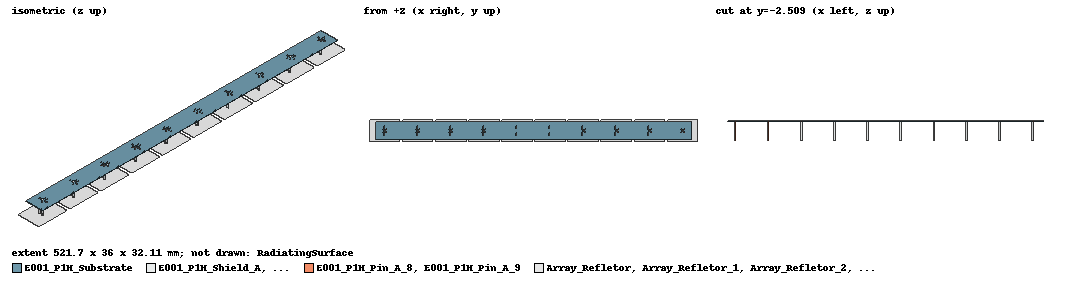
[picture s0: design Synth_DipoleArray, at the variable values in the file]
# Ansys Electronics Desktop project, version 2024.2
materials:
  vacuum: permittivity=1
  P1H_RO4350B_DesignDk: permittivity=3.66 permeability=1 dielectric_loss_tangent=0.0037
  copper: permeability=0.999991 conductivity=58000000
  aluminum: permeability=1.000021 conductivity=38000000

design Synth_DipoleArray (HFSS, HFSS Modal Network, model units mm)
options: open_region{BoundaryType=0 OpFreq=5.17GHz}
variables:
  array_reflector_z = 0mm
  array_reflector_width = 48.3125mm
  array_reflector_height = 36mm
  array_pcb_thickness = 0.76mm
  array_model_count = 1
  array_has_B1 = 0
  array_has_R1 = 0
  array_has_Y1 = 0
  array_has_P1 = 0
  array_has_P1H = 1
  array_P1H_reflector_spacing = 16.61mm
  array_P1H_element_z = array_P1H_reflector_spacing
  array_P1H_reference_frequency = 5170MHz
  array_P1H_band_start = 5090MHz
  array_P1H_band_stop = 5250MHz
  array_P1H_xy_scale = 0.755
  array_P1H_pcb_thickness = 0.76mm
  array_P1H_geometry_revision = 1
  array_P1H_ring_opening_scale = 1
  array_P1H_polarization_scale_A = 1.0124
  array_P1H_polarization_scale_B = 1.0007
  array_reflector_spacing = array_P1H_reflector_spacing
  array_element_plane_z = array_P1H_element_z
  E001_element_z = array_P1H_element_z
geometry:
  E001_P1H_Ring_Q1 = polyline(z=16.61mm, xy in mm: (0.264434975, 2.4067617) (0.264434975, 8.6519924) (4.8615779, 13.249135) (8.3875574, 13.249135) (13.249135, 8.3875574) (13.249135, 4.8615779) (8.6519924, 0.264434975) (2.4067617, 0.264434975) (0.264434975, 2.4067617), closed, covered)
  E001_P1H_Ring_Q1_opening = polyline(z=16.61mm, xy in mm: (2.4307889, 5.0485616) (5.0485616, 2.4307889) (9.1087805, 2.4307889) (11.966961, 5.2889693) (11.966961, 7.960166) (7.960166, 11.966961) (5.2889693, 11.966961) (2.4307889, 9.1087805) (2.4307889, 5.0485616), closed, covered)
  E001_P1H_Ring_Q1.subtract(E001_P1H_Ring_Q1_opening)
  E001_P1H_Ring_Q1_coax_B = circle(normal=Z, centre=(2.5091684mm, 2.5091684mm, 16.61mm), radius=1.2704335mm)
  E001_P1H_Ring_Q1.subtract(E001_P1H_Ring_Q1_coax_B)
  E001_P1H_Ring_Q2 = polyline(z=16.61mm, xy in mm: (-0.2675267, 2.4349011) (-0.2675267, 8.7531499) (-4.9184185, 13.404042) (-8.4856232, 13.404042) (-13.404042, 8.4856232) (-13.404042, 4.9184185) (-8.7531499, 0.2675267) (-2.4349011, 0.2675267) (-0.2675267, 2.4349011), closed, covered)
  E001_P1H_Ring_Q2_opening = polyline(z=16.61mm, xy in mm: (-2.4592093, 5.1075885) (-5.1075885, 2.4592093) (-9.2152787, 2.4592093) (-12.106876, 5.350807) (-12.106876, 8.0532347) (-8.0532347, 12.106876) (-5.350807, 12.106876) (-2.4592093, 9.2152787) (-2.4592093, 5.1075885), closed, covered)
  E001_P1H_Ring_Q2.subtract(E001_P1H_Ring_Q2_opening)
  E001_P1H_Ring_Q3 = polyline(z=16.61mm, xy in mm: (-0.264434975, -2.4067617) (-0.264434975, -8.6519924) (-4.8615779, -13.249135) (-8.3875574, -13.249135) (-13.249135, -8.3875574) (-13.249135, -4.8615779) (-8.6519924, -0.264434975) (-2.4067617, -0.264434975) (-0.264434975, -2.4067617), closed, covered)
  E001_P1H_Ring_Q3_opening = polyline(z=16.61mm, xy in mm: (-2.4307889, -5.0485616) (-5.0485616, -2.4307889) (-9.1087805, -2.4307889) (-11.966961, -5.2889693) (-11.966961, -7.960166) (-7.960166, -11.966961) (-5.2889693, -11.966961) (-2.4307889, -9.1087805) (-2.4307889, -5.0485616), closed, covered)
  E001_P1H_Ring_Q3.subtract(E001_P1H_Ring_Q3_opening)
  E001_P1H_Ring_Q4 = polyline(z=16.61mm, xy in mm: (0.2675267, -2.4349011) (0.2675267, -8.7531499) (4.9184185, -13.404042) (8.4856232, -13.404042) (13.404042, -8.4856232) (13.404042, -4.9184185) (8.7531499, -0.2675267) (2.4349011, -0.2675267) (0.2675267, -2.4349011), closed, covered)
  E001_P1H_Ring_Q4_opening = polyline(z=16.61mm, xy in mm: (2.4592093, -5.1075885) (5.1075885, -2.4592093) (9.2152787, -2.4592093) (12.106876, -5.350807) (12.106876, -8.0532347) (8.0532347, -12.106876) (5.350807, -12.106876) (2.4592093, -9.2152787) (2.4592093, -5.1075885), closed, covered)
  E001_P1H_Ring_Q4.subtract(E001_P1H_Ring_Q4_opening)
  E001_P1H_Ring_Q4_coax_A = circle(normal=Z, centre=(2.5091684mm, -2.5091684mm, 16.61mm), radius=1.2704335mm)
  E001_P1H_Ring_Q4.subtract(E001_P1H_Ring_Q4_coax_A)
  E001_P1H_Feed_A = polyline(z=17.37mm, xy in mm: (-7.1688408, 1.041038) (-3.0163408, 1.041038) (-2.375702, 1.6816767) (2.6960214, -3.3900467) (3.3900467, -2.6960214) (-1.6816767, 2.375702) (-1.041038, 3.0163408) (-1.041038, 7.1688408) (-2.022538, 7.1688408) (-2.022538, 3.4228914) (-3.4228914, 2.022538) (-7.1688408, 2.022538) (-7.1688408, 1.041038), closed, covered)
  E001_P1H_Feed_B_Outer = polyline(z=17.37mm, xy in mm: (-7.1688408, -2.022538) (-7.1688408, -1.041038) (-3.0163408, -1.041038) (-2.375702, -1.6816767) (-0.82749171, -0.1334664) (-0.1334664, -0.82749171) (-1.6816767, -2.375702) (-1.041038, -3.0163408) (-1.041038, -7.1688408) (-2.022538, -7.1688408) (-2.022538, -3.4228914) (-3.4228914, -2.022538) (-7.1688408, -2.022538), closed, covered)
  E001_P1H_Feed_B_Inner = polyline(z=17.37mm, xy in mm: (0.1334664, 0.82749171) (0.82749171, 0.1334664) (3.3900467, 2.6960214) (2.6960214, 3.3900467) (0.1334664, 0.82749171), closed, covered)
  E001_P1H_Feed_A_pin_hole = circle(normal=Z, centre=(2.5091684mm, -2.5091684mm, 17.37mm), radius=0.362981mm)
  E001_P1H_Feed_A.subtract(E001_P1H_Feed_A_pin_hole)
  E001_P1H_Feed_B_pin_hole = circle(normal=Z, centre=(2.5091684mm, 2.5091684mm, 17.37mm), radius=0.362981mm)
  E001_P1H_Feed_B_Inner.subtract(E001_P1H_Feed_B_pin_hole)
  E001_P1H_Crossover_Bridge = polyline(z=16.61mm, xy in mm: (-1.3613573, -0.66733202) (0.66733202, 1.3613573) (1.3613573, 0.66733202) (-0.66733202, -1.3613573) (-1.3613573, -0.66733202), closed, covered)
  E001_P1H_Pin_A [copper] = cylinder(axis=Z, base_centre=(2.5091684mm, -2.5091684mm, -14.51924mm), radius=0.362981mm, height=32.1070286mm)
  E001_P1H_Shield_A [aluminum] = cylinder(axis=Z, base_centre=(2.5091684mm, -2.5091684mm, -14.51924mm), radius=1.2704335mm, height=31.12924mm)
  E001_P1H_Shield_A_Inner = cylinder(axis=Z, base_centre=(2.5091684mm, -2.5091684mm, -14.5555381mm), radius=0.8348563mm, height=31.2018362mm)
  E001_P1H_Shield_A.subtract(E001_P1H_Shield_A_Inner)
  E001_P1H_Port_A_Face = circle(normal=Z, centre=(2.5091684mm, -2.5091684mm, -14.51924mm), radius=0.8348563mm)
  E001_P1H_Pin_B [copper] = cylinder(axis=Z, base_centre=(2.5091684mm, 2.5091684mm, -14.51924mm), radius=0.362981mm, height=32.1070286mm)
  E001_P1H_Shield_B [aluminum] = cylinder(axis=Z, base_centre=(2.5091684mm, 2.5091684mm, -14.51924mm), radius=1.2704335mm, height=31.12924mm)
  E001_P1H_Shield_B_Inner = cylinder(axis=Z, base_centre=(2.5091684mm, 2.5091684mm, -14.5555381mm), radius=0.8348563mm, height=31.2018362mm)
  E001_P1H_Shield_B.subtract(E001_P1H_Shield_B_Inner)
  E001_P1H_Port_B_Face = circle(normal=Z, centre=(2.5091684mm, 2.5091684mm, -14.51924mm), radius=0.8348563mm)
  Array_Refletor = rectangle(corner=(-array_reflector_width/2, -array_reflector_height/2, array_reflector_z), x_size=array_reflector_width, y_size=array_reflector_height)
  Reflector_Hole_E001_P1H_A = circle(normal=Z, centre=(2.5091684mm, -2.5091684mm, 0mm), radius=1.3067316mm)
  Reflector_Hole_E001_P1H_B = circle(normal=Z, centre=(2.5091684mm, 2.5091684mm, 0mm), radius=1.3067316mm)
  Array_Refletor.subtract(Reflector_Hole_E001_P1H_A, Reflector_Hole_E001_P1H_B)
  RadiatingSurface [vacuum] = region(absolute_offset=19.34236mm on all sides)
  E001_P1H_Substrate [P1H_RO4350B_DesignDk] = box(corner=(-14.15625mm, -14.15625mm, 16.61mm), size=(28.3125mm, 28.3125mm, 0.76mm))
  FuroCore_A = cylinder(axis=Z, base_centre=(2.5091684mm, -2.5091684mm, 16.56mm), radius=0.45mm, height=0.86mm)
  E001_P1H_Metal_A = cylinder(axis=Z, base_centre=(2.5091684mm, -2.5091684mm, 16.61mm), radius=0.45mm, height=0.76mm)
  FuroMetal_A = cylinder(axis=Z, base_centre=(2.5091684mm, -2.5091684mm, 16.56mm), radius=0.362981mm, height=0.86mm)
  E001_P1H_Metal_A.subtract(FuroMetal_A)
  E001_P1H_Pin_A.unite(E001_P1H_Metal_A)
  E001_P1H_Pad_A_B = circle(normal=Z, centre=(2.5091684mm, -2.5091684mm, 16.61mm), radius=0.6mm)
  FuroPad_A_B = circle(normal=Z, centre=(2.5091684mm, -2.5091684mm, 16.61mm), radius=0.45mm)
  E001_P1H_Pad_A_B.subtract(FuroPad_A_B)
  E001_P1H_Pad_A_F = circle(normal=Z, centre=(2.5091684mm, -2.5091684mm, 17.37mm), radius=0.6mm)
  E001_P1H_Feed_A.unite(E001_P1H_Pad_A_F)
  FuroPad_A_F = circle(normal=Z, centre=(2.5091684mm, -2.5091684mm, 17.37mm), radius=0.45mm)
  E001_P1H_Feed_A.subtract(FuroPad_A_F)
  FuroCore_B = cylinder(axis=Z, base_centre=(2.5091684mm, 2.5091684mm, 16.56mm), radius=0.45mm, height=0.86mm)
  E001_P1H_Metal_B = cylinder(axis=Z, base_centre=(2.5091684mm, 2.5091684mm, 16.61mm), radius=0.45mm, height=0.76mm)
  FuroMetal_B = cylinder(axis=Z, base_centre=(2.5091684mm, 2.5091684mm, 16.56mm), radius=0.362981mm, height=0.86mm)
  E001_P1H_Metal_B.subtract(FuroMetal_B)
  E001_P1H_Pin_B.unite(E001_P1H_Metal_B)
  E001_P1H_Pad_B_B = circle(normal=Z, centre=(2.5091684mm, 2.5091684mm, 16.61mm), radius=0.6mm)
  FuroPad_B_B = circle(normal=Z, centre=(2.5091684mm, 2.5091684mm, 16.61mm), radius=0.45mm)
  E001_P1H_Pad_B_B.subtract(FuroPad_B_B)
  E001_P1H_Pad_B_F = circle(normal=Z, centre=(2.5091684mm, 2.5091684mm, 17.37mm), radius=0.6mm)
  E001_P1H_Feed_B_Inner.unite(E001_P1H_Pad_B_F)
  FuroPad_B_F = circle(normal=Z, centre=(2.5091684mm, 2.5091684mm, 17.37mm), radius=0.45mm)
  E001_P1H_Feed_B_Inner.subtract(FuroPad_B_F)
  FuroCore_V1 = cylinder(axis=Z, base_centre=(-0.74741187mm, -0.74741187mm, 16.56mm), radius=0.225mm, height=0.86mm)
  E001_P1H_Metal_V1 [copper] = cylinder(axis=Z, base_centre=(-0.74741187mm, -0.74741187mm, 16.61mm), radius=0.225mm, height=0.76mm)
  FuroMetal_V1 = cylinder(axis=Z, base_centre=(-0.74741187mm, -0.74741187mm, 16.56mm), radius=0.2mm, height=0.86mm)
  E001_P1H_Metal_V1.subtract(FuroMetal_V1)
  E001_P1H_Pad_V1_B = circle(normal=Z, centre=(-0.74741187mm, -0.74741187mm, 16.61mm), radius=0.363mm)
  E001_P1H_Crossover_Bridge.unite(E001_P1H_Pad_V1_B)
  FuroPad_V1_B = circle(normal=Z, centre=(-0.74741187mm, -0.74741187mm, 16.61mm), radius=0.225mm)
  E001_P1H_Crossover_Bridge.subtract(FuroPad_V1_B)
  E001_P1H_Pad_V1_F = circle(normal=Z, centre=(-0.74741187mm, -0.74741187mm, 17.37mm), radius=0.363mm)
  E001_P1H_Feed_B_Outer.unite(E001_P1H_Pad_V1_F)
  FuroPad_V1_F = circle(normal=Z, centre=(-0.74741187mm, -0.74741187mm, 17.37mm), radius=0.225mm)
  E001_P1H_Feed_B_Outer.subtract(FuroPad_V1_F)
  FuroCore_V2 = cylinder(axis=Z, base_centre=(0.74741187mm, 0.74741187mm, 16.56mm), radius=0.225mm, height=0.86mm)
  E001_P1H_Metal_V2 [copper] = cylinder(axis=Z, base_centre=(0.74741187mm, 0.74741187mm, 16.61mm), radius=0.225mm, height=0.76mm)
  FuroMetal_V2 = cylinder(axis=Z, base_centre=(0.74741187mm, 0.74741187mm, 16.56mm), radius=0.2mm, height=0.86mm)
  E001_P1H_Metal_V2.subtract(FuroMetal_V2)
  E001_P1H_Pad_V2_B = circle(normal=Z, centre=(0.74741187mm, 0.74741187mm, 16.61mm), radius=0.363mm)
  E001_P1H_Crossover_Bridge.unite(E001_P1H_Pad_V2_B)
  FuroPad_V2_B = circle(normal=Z, centre=(0.74741187mm, 0.74741187mm, 16.61mm), radius=0.225mm)
  E001_P1H_Crossover_Bridge.subtract(FuroPad_V2_B)
  E001_P1H_Pad_V2_F = circle(normal=Z, centre=(0.74741187mm, 0.74741187mm, 17.37mm), radius=0.363mm)
  E001_P1H_Feed_B_Inner.unite(E001_P1H_Pad_V2_F)
  FuroPad_V2_F = circle(normal=Z, centre=(0.74741187mm, 0.74741187mm, 17.37mm), radius=0.225mm)
  E001_P1H_Feed_B_Inner.subtract(FuroPad_V2_F)
  E001_P1H_Substrate.subtract(FuroCore_A, FuroCore_B, FuroCore_V1, FuroCore_V2)
  [E001_P1H_Pin_A, E001_P1H_Shield_A, E001_P1H_Pin_B, E001_P1H_Shield_B, E001_P1H_Substrate, E001_P1H_Metal_V1, E001_P1H_Metal_V2, E001_P1H_Ring_Q1..E001_P1H_Ring_Q4, E001_P1H_Feed_A, E001_P1H_Feed_B_Outer, E001_P1H_Feed_B_Inner, E001_P1H_Crossover_Bridge, E001_P1H_Port_A_Face, E001_P1H_Port_B_Face, Array_Refletor, E001_P1H_Pad_A_B, E001_P1H_Pad_B_B].move(-236.7mm, 0mm, 0mm)
  E001_P1H_Pin_A_1..E001_P1H_Pin_A_9 [copper] = E001_P1H_Pin_A.duplicate_along_line(step=(52.6mm, 0mm, 0mm), total=10)
  E001_P1H_Shield_A_1..E001_P1H_Shield_A_9 [aluminum] = E001_P1H_Shield_A.duplicate_along_line(step=(52.6mm, 0mm, 0mm), total=10)
  E001_P1H_Pin_B_1..E001_P1H_Pin_B_9 [copper] = E001_P1H_Pin_B.duplicate_along_line(step=(52.6mm, 0mm, 0mm), total=10)
  E001_P1H_Shield_B_1..E001_P1H_Shield_B_9 [aluminum] = E001_P1H_Shield_B.duplicate_along_line(step=(52.6mm, 0mm, 0mm), total=10)
  E001_P1H_Substrate_1..E001_P1H_Substrate_9 = E001_P1H_Substrate.duplicate_along_line(step=(52.6mm, 0mm, 0mm), total=10)
  E001_P1H_Metal_V1_1..E001_P1H_Metal_V1_9 [copper] = E001_P1H_Metal_V1.duplicate_along_line(step=(52.6mm, 0mm, 0mm), total=10)
  E001_P1H_Metal_V2_1..E001_P1H_Metal_V2_9 [copper] = E001_P1H_Metal_V2.duplicate_along_line(step=(52.6mm, 0mm, 0mm), total=10)
  E001_P1H_Ring_Q1_1..E001_P1H_Ring_Q1_9 = E001_P1H_Ring_Q1.duplicate_along_line(step=(52.6mm, 0mm, 0mm), total=10)
  E001_P1H_Ring_Q2_1..E001_P1H_Ring_Q2_9 = E001_P1H_Ring_Q2.duplicate_along_line(step=(52.6mm, 0mm, 0mm), total=10)
  E001_P1H_Ring_Q3_1..E001_P1H_Ring_Q3_9 = E001_P1H_Ring_Q3.duplicate_along_line(step=(52.6mm, 0mm, 0mm), total=10)
  E001_P1H_Ring_Q4_1..E001_P1H_Ring_Q4_9 = E001_P1H_Ring_Q4.duplicate_along_line(step=(52.6mm, 0mm, 0mm), total=10)
  E001_P1H_Feed_A_1..E001_P1H_Feed_A_9 = E001_P1H_Feed_A.duplicate_along_line(step=(52.6mm, 0mm, 0mm), total=10)
  E001_P1H_Feed_B_Outer_1..E001_P1H_Feed_B_Outer_9 = E001_P1H_Feed_B_Outer.duplicate_along_line(step=(52.6mm, 0mm, 0mm), total=10)
  E001_P1H_Feed_B_Inner_1..E001_P1H_Feed_B_Inner_9 = E001_P1H_Feed_B_Inner.duplicate_along_line(step=(52.6mm, 0mm, 0mm), total=10)
  E001_P1H_Crossover_Bridge_1..E001_P1H_Crossover_Bridge_9 = E001_P1H_Crossover_Bridge.duplicate_along_line(step=(52.6mm, 0mm, 0mm), total=10)
  E001_P1H_Port_A_Face_1..E001_P1H_Port_A_Face_9 = E001_P1H_Port_A_Face.duplicate_along_line(step=(52.6mm, 0mm, 0mm), total=10)
  E001_P1H_Port_B_Face_1..E001_P1H_Port_B_Face_9 = E001_P1H_Port_B_Face.duplicate_along_line(step=(52.6mm, 0mm, 0mm), total=10)
  Array_Refletor_1..Array_Refletor_9 = Array_Refletor.duplicate_along_line(step=(52.6mm, 0mm, 0mm), total=10)
  E001_P1H_Pad_A_B_1..E001_P1H_Pad_A_B_9 = E001_P1H_Pad_A_B.duplicate_along_line(step=(52.6mm, 0mm, 0mm), total=10)
  E001_P1H_Pad_B_B_1..E001_P1H_Pad_B_B_9 = E001_P1H_Pad_B_B.duplicate_along_line(step=(52.6mm, 0mm, 0mm), total=10)
  Laminado_entre_00 = box(corner=(-222.54375mm, -14.15625mm, 16.61mm), size=(24.2875mm, 28.3125mm, 0.76mm))
  Laminado_entre_01 = box(corner=(-169.94375mm, -14.15625mm, 16.61mm), size=(24.2875mm, 28.3125mm, 0.76mm))
  Laminado_entre_02 = box(corner=(-117.34375mm, -14.15625mm, 16.61mm), size=(24.2875mm, 28.3125mm, 0.76mm))
  Laminado_entre_03 = box(corner=(-64.74375mm, -14.15625mm, 16.61mm), size=(24.2875mm, 28.3125mm, 0.76mm))
  Laminado_entre_04 = box(corner=(-12.14375mm, -14.15625mm, 16.61mm), size=(24.2875mm, 28.3125mm, 0.76mm))
  Laminado_entre_05 = box(corner=(40.45625mm, -14.15625mm, 16.61mm), size=(24.2875mm, 28.3125mm, 0.76mm))
  Laminado_entre_06 = box(corner=(93.05625mm, -14.15625mm, 16.61mm), size=(24.2875mm, 28.3125mm, 0.76mm))
  Laminado_entre_07 = box(corner=(145.65625mm, -14.15625mm, 16.61mm), size=(24.2875mm, 28.3125mm, 0.76mm))
  Laminado_entre_08 = box(corner=(198.25625mm, -14.15625mm, 16.61mm), size=(24.2875mm, 28.3125mm, 0.76mm))
  E001_P1H_Substrate.unite(E001_P1H_Substrate_1..E001_P1H_Substrate_9, Laminado_entre_00, Laminado_entre_01, Laminado_entre_02, Laminado_entre_03, Laminado_entre_04, Laminado_entre_05, Laminado_entre_06, Laminado_entre_07, Laminado_entre_08)
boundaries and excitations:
  PerfectE_Array_Refletor: Perfect E Objects=Array_Refletor
  AutoOpen1: Radiation Objects=RadiatingSurface
  Cobre_PCB_35um: Finite Conductivity Objects=[E001_P1H_Ring_Q1..E001_P1H_Ring_Q4, E001_P1H_Feed_A, E001_P1H_Feed_B_Inner, E001_P1H_Feed_B_Outer, E001_P1H_Crossover_Bridge, E001_P1H_Pad_A_B, E001_P1H_Pad_B_B] UseMaterial Material=copper Thickness=0.035mm IsInternal
  PerfectE_Array_Refletor1: Perfect E Objects=Array_Refletor_1
  Cobre_PCB_35um1: Finite Conductivity Objects=[E001_P1H_Ring_Q1_1, E001_P1H_Ring_Q2_1, E001_P1H_Ring_Q3_1, E001_P1H_Ring_Q4_1, E001_P1H_Feed_A_1, E001_P1H_Feed_B_Inner_1, E001_P1H_Feed_B_Outer_1, E001_P1H_Crossover_Bridge_1, E001_P1H_Pad_A_B_1, E001_P1H_Pad_B_B_1] UseMaterial Material=copper Thickness=0.035mm IsInternal
  PerfectE_Array_Refletor2: Perfect E Objects=Array_Refletor_2
  Cobre_PCB_35um2: Finite Conductivity Objects=[E001_P1H_Ring_Q1_2, E001_P1H_Ring_Q2_2, E001_P1H_Ring_Q3_2, E001_P1H_Ring_Q4_2, E001_P1H_Feed_A_2, E001_P1H_Feed_B_Inner_2, E001_P1H_Feed_B_Outer_2, E001_P1H_Crossover_Bridge_2, E001_P1H_Pad_A_B_2, E001_P1H_Pad_B_B_2] UseMaterial Material=copper Thickness=0.035mm IsInternal
  PerfectE_Array_Refletor3: Perfect E Objects=Array_Refletor_3
  Cobre_PCB_35um3: Finite Conductivity Objects=[E001_P1H_Ring_Q1_3, E001_P1H_Ring_Q2_3, E001_P1H_Ring_Q3_3, E001_P1H_Ring_Q4_3, E001_P1H_Feed_A_3, E001_P1H_Feed_B_Inner_3, E001_P1H_Feed_B_Outer_3, E001_P1H_Crossover_Bridge_3, E001_P1H_Pad_A_B_3, E001_P1H_Pad_B_B_3] UseMaterial Material=copper Thickness=0.035mm IsInternal
  PerfectE_Array_Refletor4: Perfect E Objects=Array_Refletor_4
  Cobre_PCB_35um4: Finite Conductivity Objects=[E001_P1H_Ring_Q1_4, E001_P1H_Ring_Q2_4, E001_P1H_Ring_Q3_4, E001_P1H_Ring_Q4_4, E001_P1H_Feed_A_4, E001_P1H_Feed_B_Inner_4, E001_P1H_Feed_B_Outer_4, E001_P1H_Crossover_Bridge_4, E001_P1H_Pad_A_B_4, E001_P1H_Pad_B_B_4] UseMaterial Material=copper Thickness=0.035mm IsInternal
  PerfectE_Array_Refletor5: Perfect E Objects=Array_Refletor_5
  Cobre_PCB_35um5: Finite Conductivity Objects=[E001_P1H_Ring_Q1_5, E001_P1H_Ring_Q2_5, E001_P1H_Ring_Q3_5, E001_P1H_Ring_Q4_5, E001_P1H_Feed_A_5, E001_P1H_Feed_B_Inner_5, E001_P1H_Feed_B_Outer_5, E001_P1H_Crossover_Bridge_5, E001_P1H_Pad_A_B_5, E001_P1H_Pad_B_B_5] UseMaterial Material=copper Thickness=0.035mm IsInternal
  PerfectE_Array_Refletor6: Perfect E Objects=Array_Refletor_6
  Cobre_PCB_35um6: Finite Conductivity Objects=[E001_P1H_Ring_Q1_6, E001_P1H_Ring_Q2_6, E001_P1H_Ring_Q3_6, E001_P1H_Ring_Q4_6, E001_P1H_Feed_A_6, E001_P1H_Feed_B_Inner_6, E001_P1H_Feed_B_Outer_6, E001_P1H_Crossover_Bridge_6, E001_P1H_Pad_A_B_6, E001_P1H_Pad_B_B_6] UseMaterial Material=copper Thickness=0.035mm IsInternal
  PerfectE_Array_Refletor7: Perfect E Objects=Array_Refletor_7
  Cobre_PCB_35um7: Finite Conductivity Objects=[E001_P1H_Ring_Q1_7, E001_P1H_Ring_Q2_7, E001_P1H_Ring_Q3_7, E001_P1H_Ring_Q4_7, E001_P1H_Feed_A_7, E001_P1H_Feed_B_Inner_7, E001_P1H_Feed_B_Outer_7, E001_P1H_Crossover_Bridge_7, E001_P1H_Pad_A_B_7, E001_P1H_Pad_B_B_7] UseMaterial Material=copper Thickness=0.035mm IsInternal
  PerfectE_Array_Refletor8: Perfect E Objects=Array_Refletor_8
  Cobre_PCB_35um8: Finite Conductivity Objects=[E001_P1H_Ring_Q1_8, E001_P1H_Ring_Q2_8, E001_P1H_Ring_Q3_8, E001_P1H_Ring_Q4_8, E001_P1H_Feed_A_8, E001_P1H_Feed_B_Inner_8, E001_P1H_Feed_B_Outer_8, E001_P1H_Crossover_Bridge_8, E001_P1H_Pad_A_B_8, E001_P1H_Pad_B_B_8] UseMaterial Material=copper Thickness=0.035mm IsInternal
  PerfectE_Array_Refletor9: Perfect E Objects=Array_Refletor_9
  Cobre_PCB_35um9: Finite Conductivity Objects=[E001_P1H_Ring_Q1_9, E001_P1H_Ring_Q2_9, E001_P1H_Ring_Q3_9, E001_P1H_Ring_Q4_9, E001_P1H_Feed_A_9, E001_P1H_Feed_B_Inner_9, E001_P1H_Feed_B_Outer_9, E001_P1H_Crossover_Bridge_9, E001_P1H_Pad_A_B_9, E001_P1H_Pad_B_B_9] UseMaterial Material=copper Thickness=0.035mm IsInternal
  E016_PA: Lumped Port Objects=E001_P1H_Port_A_Face LumpedPortType=Modal Modes{Mode1{IntLine{(-233.82785, -2.5091684, -14.51924) -> (-233.35598, -2.5091684, -14.51924)} CharImp=Zpi RenormImp=50ohm}} Impedance=50ohm
  E016_PB: Lumped Port Objects=E001_P1H_Port_B_Face LumpedPortType=Modal Modes{Mode1{IntLine{(-233.82785, 2.5091684, -14.51924) -> (-233.35598, 2.5091684, -14.51924)} CharImp=Zpi RenormImp=50ohm}} Impedance=50ohm
  E016_PA1: Lumped Port Objects=E001_P1H_Port_A_Face_1 LumpedPortType=Modal Modes{Mode1{IntLine{(-181.22785, -2.5091684, -14.51924) -> (-180.75598, -2.5091684, -14.51924)} CharImp=Zpi RenormImp=50ohm}} Impedance=50ohm
  E016_PB1: Lumped Port Objects=E001_P1H_Port_B_Face_1 LumpedPortType=Modal Modes{Mode1{IntLine{(-181.22785, 2.5091684, -14.51924) -> (-180.75598, 2.5091684, -14.51924)} CharImp=Zpi RenormImp=50ohm}} Impedance=50ohm
  E016_PA2: Lumped Port Objects=E001_P1H_Port_A_Face_2 LumpedPortType=Modal Modes{Mode1{IntLine{(-128.62785, -2.5091684, -14.51924) -> (-128.15598, -2.5091684, -14.51924)} CharImp=Zpi RenormImp=50ohm}} Impedance=50ohm
  E016_PB2: Lumped Port Objects=E001_P1H_Port_B_Face_2 LumpedPortType=Modal Modes{Mode1{IntLine{(-128.62785, 2.5091684, -14.51924) -> (-128.15598, 2.5091684, -14.51924)} CharImp=Zpi RenormImp=50ohm}} Impedance=50ohm
  E016_PA3: Lumped Port Objects=E001_P1H_Port_A_Face_3 LumpedPortType=Modal Modes{Mode1{IntLine{(-76.027851, -2.5091684, -14.51924) -> (-75.555975, -2.5091684, -14.51924)} CharImp=Zpi RenormImp=50ohm}} Impedance=50ohm
  E016_PB3: Lumped Port Objects=E001_P1H_Port_B_Face_3 LumpedPortType=Modal Modes{Mode1{IntLine{(-76.027851, 2.5091684, -14.51924) -> (-75.555975, 2.5091684, -14.51924)} CharImp=Zpi RenormImp=50ohm}} Impedance=50ohm
  E016_PA4: Lumped Port Objects=E001_P1H_Port_A_Face_4 LumpedPortType=Modal Modes{Mode1{IntLine{(-23.427851, -2.5091684, -14.51924) -> (-22.955975, -2.5091684, -14.51924)} CharImp=Zpi RenormImp=50ohm}} Impedance=50ohm
  E016_PB4: Lumped Port Objects=E001_P1H_Port_B_Face_4 LumpedPortType=Modal Modes{Mode1{IntLine{(-23.427851, 2.5091684, -14.51924) -> (-22.955975, 2.5091684, -14.51924)} CharImp=Zpi RenormImp=50ohm}} Impedance=50ohm
  E016_PA5: Lumped Port Objects=E001_P1H_Port_A_Face_5 LumpedPortType=Modal Modes{Mode1{IntLine{(29.172149, -2.5091684, -14.51924) -> (29.644025, -2.5091684, -14.51924)} CharImp=Zpi RenormImp=50ohm}} Impedance=50ohm
  E016_PB5: Lumped Port Objects=E001_P1H_Port_B_Face_5 LumpedPortType=Modal Modes{Mode1{IntLine{(29.172149, 2.5091684, -14.51924) -> (29.644025, 2.5091684, -14.51924)} CharImp=Zpi RenormImp=50ohm}} Impedance=50ohm
  E016_PA6: Lumped Port Objects=E001_P1H_Port_A_Face_6 LumpedPortType=Modal Modes{Mode1{IntLine{(81.772149, -2.5091684, -14.51924) -> (82.244025, -2.5091684, -14.51924)} CharImp=Zpi RenormImp=50ohm}} Impedance=50ohm
  E016_PB6: Lumped Port Objects=E001_P1H_Port_B_Face_6 LumpedPortType=Modal Modes{Mode1{IntLine{(81.772149, 2.5091684, -14.51924) -> (82.244025, 2.5091684, -14.51924)} CharImp=Zpi RenormImp=50ohm}} Impedance=50ohm
  E016_PA7: Lumped Port Objects=E001_P1H_Port_A_Face_7 LumpedPortType=Modal Modes{Mode1{IntLine{(134.37215, -2.5091684, -14.51924) -> (134.84402, -2.5091684, -14.51924)} CharImp=Zpi RenormImp=50ohm}} Impedance=50ohm
  E016_PB7: Lumped Port Objects=E001_P1H_Port_B_Face_7 LumpedPortType=Modal Modes{Mode1{IntLine{(134.37215, 2.5091684, -14.51924) -> (134.84402, 2.5091684, -14.51924)} CharImp=Zpi RenormImp=50ohm}} Impedance=50ohm
  E016_PA8: Lumped Port Objects=E001_P1H_Port_A_Face_8 LumpedPortType=Modal Modes{Mode1{IntLine{(186.97215, -2.5091684, -14.51924) -> (187.44402, -2.5091684, -14.51924)} CharImp=Zpi RenormImp=50ohm}} Impedance=50ohm
  E016_PB8: Lumped Port Objects=E001_P1H_Port_B_Face_8 LumpedPortType=Modal Modes{Mode1{IntLine{(186.97215, 2.5091684, -14.51924) -> (187.44402, 2.5091684, -14.51924)} CharImp=Zpi RenormImp=50ohm}} Impedance=50ohm
  E016_PA9: Lumped Port Objects=E001_P1H_Port_A_Face_9 LumpedPortType=Modal Modes{Mode1{IntLine{(239.57215, -2.5091684, -14.51924) -> (240.04402, -2.5091684, -14.51924)} CharImp=Zpi RenormImp=50ohm}} Impedance=50ohm
  E016_PB9: Lumped Port Objects=E001_P1H_Port_B_Face_9 LumpedPortType=Modal Modes{Mode1{IntLine{(239.57215, 2.5091684, -14.51924) -> (240.04402, 2.5091684, -14.51924)} CharImp=Zpi RenormImp=50ohm}} Impedance=50ohm
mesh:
  Contornos_das_sondas: SurfApproxBased Objects=[E001_P1H_Feed_A, E001_P1H_Feed_B_Outer, E001_P1H_Feed_B_Inner, E001_P1H_Crossover_Bridge, E001_P1H_Pad_A_B, E001_P1H_Pad_B_B, E001_P1H_Feed_A_1..E001_P1H_Feed_A_9, E001_P1H_Feed_B_Outer_1..E001_P1H_Feed_B_Outer_9, E001_P1H_Feed_B_Inner_1..E001_P1H_Feed_B_Inner_9, E001_P1H_Crossover_Bridge_1..E001_P1H_Crossover_Bridge_9, E001_P1H_Pad_A_B_1..E001_P1H_Pad_A_B_9, E001_P1H_Pad_B_B_1..E001_P1H_Pad_B_B_9, E001_P1H_Pin_A, E001_P1H_Pin_B, E001_P1H_Metal_V1, E001_P1H_Metal_V2, E001_P1H_Pin_A_1..E001_P1H_Pin_A_9, E001_P1H_Pin_B_1..E001_P1H_Pin_B_9, E001_P1H_Metal_V1_1..E001_P1H_Metal_V1_9, E001_P1H_Metal_V2_1..E001_P1H_Metal_V2_9] CurvedSurfaceApproxChoice=ManualSettings SurfDev=0.002mm NormalDev=10deg
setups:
  Setup_Multiband: HfssDriven Frequency=5.17GHz MaxDeltaS=0.02 MaximumPasses=11 MinimumPasses=2 MinimumConvergedPasses=1 PercentRefinement=25 BasisOrder=1 PortAccuracy=2 DrivenSolverType="Direct Solver"
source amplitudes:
  E016_PA:1, E016_PB:1, E016_PA1:1, E016_PB1:1, E016_PA2:1, E016_PB2:1, E016_PA3:1, E016_PB3:1, E016_PA4:1, E016_PB4:1, E016_PA5:1, E016_PB5:1, E016_PA6:1, E016_PB6:1, E016_PA7:1, E016_PB7:1, E016_PA8:1, E016_PB8:1, E016_PA9:1, E016_PB9:1: 0.05W 0deg
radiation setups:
  3D: Infinite Sphere Theta=0deg..180deg step 2deg Phi=-180deg..180deg step 2deg
  Elevation: Infinite Sphere Theta=-180deg..180deg step 1deg Phi=0deg..90deg step 90deg
  Azimuth: Infinite Sphere Theta=90deg..90deg step 0deg Phi=-180deg..180deg step 1deg
  AB_Eixos: Infinite Sphere Theta=-180deg..180deg step 0.25deg Phi=0deg..90deg step 90deg
